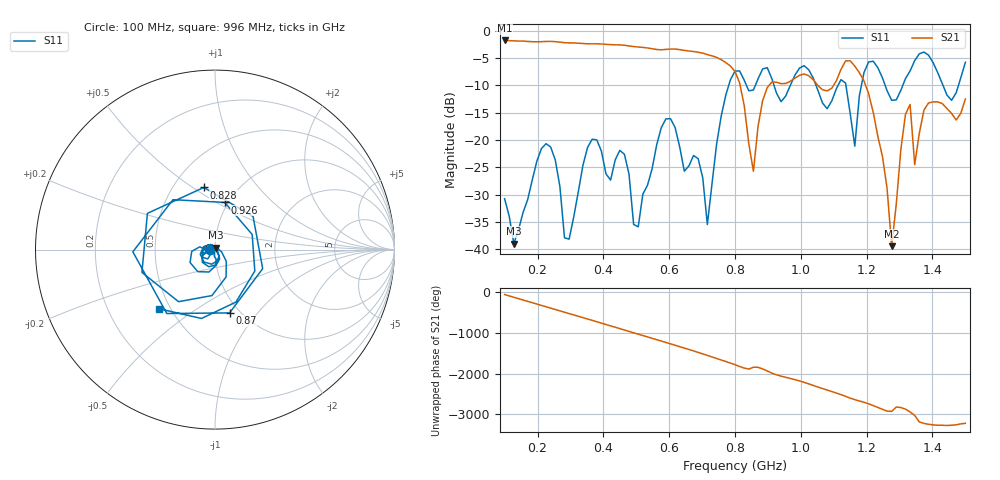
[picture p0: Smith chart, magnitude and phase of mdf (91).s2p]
! NanoVNA-App
! Date: 2025-09-25 15:39:08
! Start: 100MHz Stop: 1,5GHz Points: 101
! S-Parameter data: F S11 S21 S12 S22
# Hz S RI R 50
!  Frequency  S11_Real  S11_Imag  S21_Real  S21_Imag  S12_Real  S12_Imag  S22_Real  S22_Imag
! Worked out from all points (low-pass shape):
!   101 points, 100 MHz to 1.5 GHz, reference 50 ohm
!   highest |S21| = -1.80 dB at 100 MHz (marker M1); lowest = -39.4 dB at 1.276 GHz (marker M2)
!   |S21| within 3 dB of the highest: start of sweep to 739.2 MHz
!   lowest |S11| = -39.0 dB at 128 MHz (marker M3), VSWR 1.02, Z = 50.3 + j1.08 ohm
!   |S11| at or under -10 dB: start of sweep to 781.1 MHz; 918.4 MHz to 968.3 MHz (49.87 MHz wide, 5.29 % of centre); 1.046 GHz to 1.113 GHz (67.28 MHz wide, 6.23 % of centre) (the widest 3 of 7)
!   S12 and S22 are empty: the file has one direction only
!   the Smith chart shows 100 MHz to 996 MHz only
!   S11 on the Smith chart (normalised r, x): 100 MHz: 0.94, -0.01; 828 MHz: 0.70, +0.55; 870 MHz: 0.90, -0.73; 926 MHz: 0.96, +0.55; 996 MHz: 0.43, -0.36
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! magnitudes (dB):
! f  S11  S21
! 100 MHz  -30.8  -1.8
! 128 MHz  -39.0  -1.9
! 212 MHz  -21.6  -2.0
! 282 MHz  -37.9  -2.2
! 338 MHz  -24.6  -2.4
! 464 MHz  -22.6  -2.7
! 506 MHz  -35.9  -3.0
! 576 MHz  -17.8  -3.5
! 716 MHz  -35.5  -4.4
! 800 MHz  -7.4  -7.5
! 828 MHz  -9.1  -13.7
! 856 MHz  -10.9  -25.7
! 870 MHz  -8.8  -17.5
! 926 MHz  -11.4  -9.4
! 996 MHz  -6.9  -8.2
! 1.038 GHz  -8.7  -9.0
! 1.164 GHz  -21.1  -6.5
! 1.192 GHz  -7.7  -9.2
! 1.276 GHz  -12.8  -39.4
! 1.332 GHz  -7.4  -13.5
! 1.346 GHz  -5.5  -24.5
! 1.5 GHz  -5.8  -12.5
